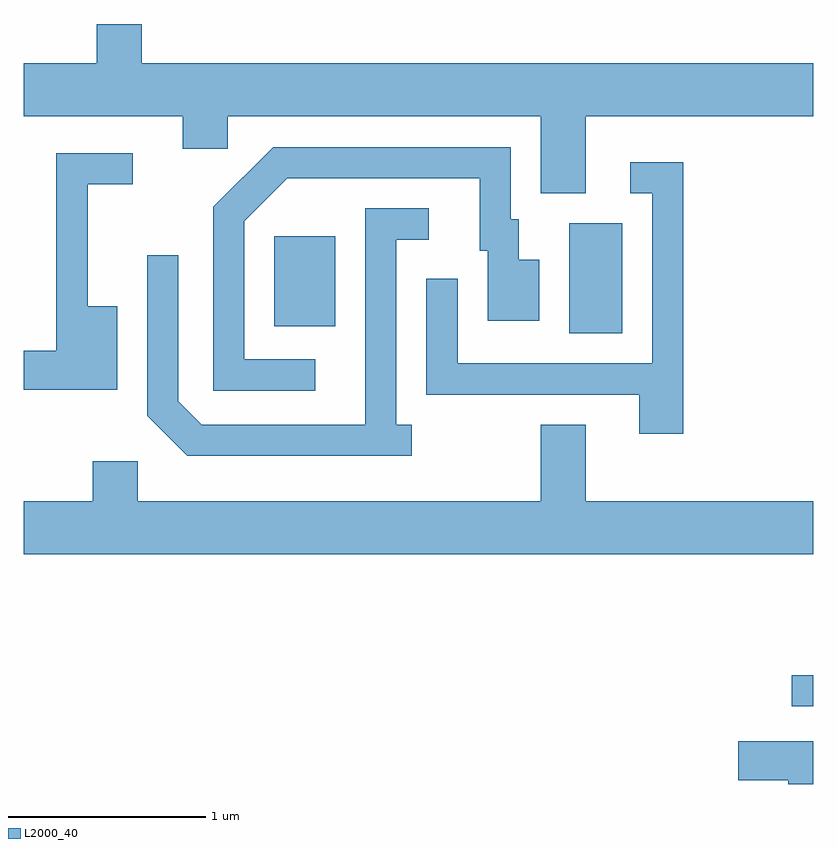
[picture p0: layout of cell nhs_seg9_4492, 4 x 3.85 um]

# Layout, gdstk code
import gdstk
lib = gdstk.Library(unit=1e-6, precision=1e-09)
def R(c, l, rs):  # rectangles x0, y0, x1, y1
    for r in rs: c.add(gdstk.rectangle(r[:2], r[2:], *l))
def P(c, l, *ps):  # polygons
    for p in ps: c.add(gdstk.Polygon(p, *l))
L2000_40 = (2000, 40)

nhs_seg9_4492 = lib.new_cell('nhs_seg9_4492')
R(nhs_seg9_4492, L2000_40, [(321.503,1988.826,321.611,1988.984), (320.376,1990.716,320.644,1991.274), (318.881,1990.751,319.189,1991.209)])
P(nhs_seg9_4492, L2000_40, [(320.459,1991.816),(321.611,1991.816),(321.611,1992.084),(318.209,1992.084),(318.209,1992.284),(317.981,1992.284),(317.981,1992.084),(317.611,1992.084),(317.611,1991.816),(318.416,1991.816),(318.416,1991.651),(318.644,1991.651),(318.644,1991.816),(320.231,1991.816),(320.231,1991.426),(320.459,1991.426)],
  [(319.088,1990.584),(318.729,1990.584),(318.729,1991.284),(318.947,1991.501),(319.921,1991.501),(319.921,1991.136),(319.961,1991.136),(319.961,1990.781),(320.224,1990.781),(320.224,1991.089),(320.119,1991.089),(320.119,1991.294),(320.079,1991.294),(320.079,1991.659),(318.874,1991.659),(318.571,1991.357),(318.571,1990.426),(319.088,1990.426)],
  [(318.084,1990.854),(317.934,1990.854),(317.934,1991.471),(318.163,1991.471),(318.163,1991.629),(317.776,1991.629),(317.776,1990.629),(317.611,1990.629),(317.611,1990.431),(318.084,1990.431)],
  [(320.954,1991.584),(320.683,1991.584),(320.683,1991.426),(320.796,1991.426),(320.796,1990.564),(319.809,1990.564),(319.809,1990.993),(319.651,1990.993),(319.651,1990.406),(320.731,1990.406),(320.731,1990.206),(320.954,1990.206)],
  [(319.578,1990.254),(319.499,1990.254),(319.499,1991.191),(319.663,1991.191),(319.663,1991.349),(319.341,1991.349),(319.341,1990.254),(318.512,1990.254),(318.394,1990.372),(318.394,1991.113),(318.236,1991.113),(318.236,1990.299),(318.439,1990.096),(319.578,1990.096)],
  [(321.611,1989.864),(320.459,1989.864),(320.459,1990.254),(320.231,1990.254),(320.231,1989.864),(318.189,1989.864),(318.189,1990.069),(317.961,1990.069),(317.961,1989.864),(317.611,1989.864),(317.611,1989.596),(321.611,1989.596)],
  [(321.611,1988.649),(321.231,1988.649),(321.231,1988.451),(321.486,1988.451),(321.486,1988.432),(321.611,1988.432)])

lib.write_gds('nhs_seg9_4492.gds')
